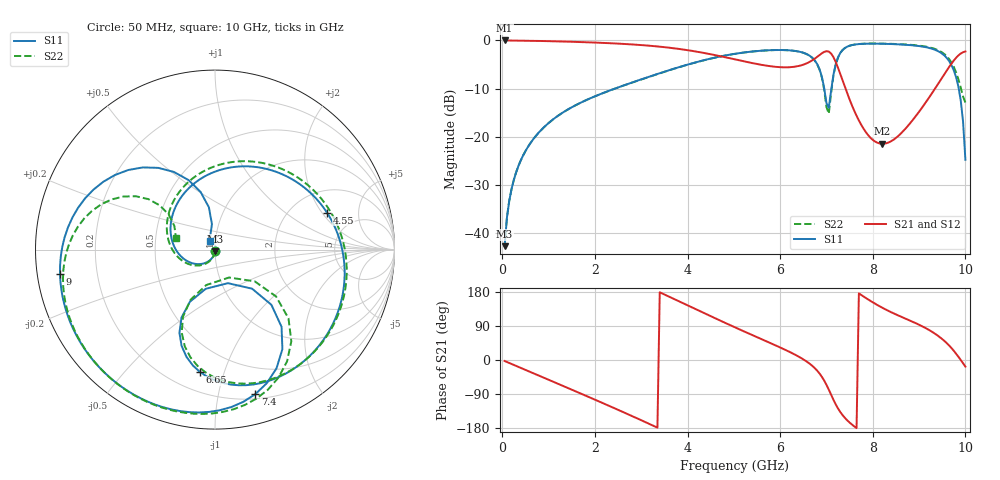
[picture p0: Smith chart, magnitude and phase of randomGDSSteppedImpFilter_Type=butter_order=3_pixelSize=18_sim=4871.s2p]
! freq	dB(S11)	phase(S11)	dB(S12)	phase(S12)
!  dB(S21)	phase(S21)	dB(S22)	phase(S22)
!S-par simulation data
#  GHz  S  DB  R 50
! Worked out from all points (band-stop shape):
!   200 points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, 50 MHz to 10 GHz, reference 50 ohm
!   highest |S21| = -0.01 dB at 50 MHz (marker M1); lowest = -21.4 dB at 8.2 GHz (marker M2)
!   |S21| within 3 dB of the highest: start of sweep to 4.576 GHz; 6.854 GHz to 7.12 GHz (266.3 MHz wide, 3.81 % of centre) (the widest 2 of 3)
!   lowest |S11| = -42.7 dB at 50 MHz (marker M3), VSWR 1.01, Z = 50 - j0.736 ohm
!   |S11| at or under -10 dB: start of sweep to 2.427 GHz; 6.953 GHz to 7.107 GHz (154.2 MHz wide, 2.19 % of centre); 9.857 GHz to end of sweep
!   |S22| runs from -42.7 to -0.6 dB; largest |S21 - S12| = 0
!   S11 on the Smith chart (normalised r, x): 50 MHz: 1.00, -0.01; 4.55 GHz: 3.09, +2.24; 6.65 GHz: 0.32, -0.83; 7.4 GHz: 0.24, -1.29; 9 GHz: 0.07, -0.08; 10 GHz: 0.94, +0.09
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0.05  -42.66 -91.2  -0.01 -2.7  -0.01 -2.7  -42.66 -90.9
0.2  -30.80 -100.8  -0.02 -10.5  -0.02 -10.5  -30.79 -99.7
0.5  -22.95 -117.9  -0.06 -26.1  -0.06 -26.1  -22.94 -115.2
1.75  -12.64 173.2  -0.35 -91.4  -0.35 -91.4  -12.65 -178.1
2.65  -9.23 123.7  -0.74 -139.6  -0.74 -139.6  -9.25 134.8
3.4  -6.80 82.1  -1.29 178.7  -1.29 178.7  -6.82 93.0
4.55  -3.65 18.3  -2.96 112.8  -2.96 112.8  -3.66 25.9
5.05  -2.73 -8.6  -3.98 84.8  -3.98 84.8  -2.74 -2.6
6.05  -1.99 -60.6  -5.57 30.3  -5.57 30.3  -2.00 -56.9
6.65  -3.26 -96.9  -4.37 -11.0  -4.37 -11.0  -3.28 -94.5
6.7  -3.65 -100.8  -4.08 -16.1  -4.08 -16.1  -3.67 -98.5
6.9  -7.51 -116.2  -2.67 -44.2  -2.67 -44.2  -7.66 -115.5
7.05  -13.96 -68.9  -2.31 -78.2  -2.31 -78.2  -15.19 -63.3
7.2  -4.91 -49.2  -4.47 -117.0  -4.47 -117.0  -5.02 -43.1
7.4  -1.55 -74.4  -9.71 -153.0  -9.71 -153.0  -1.57 -69.4
8.2  -0.69 -127.1  -21.43 138.2  -21.43 138.2  -0.66 -121.2
8.35  -0.73 -134.8  -21.12 128.8  -21.12 128.8  -0.69 -128.4
9  -1.17 -171.0  -14.78 93.0  -14.78 93.0  -1.07 -160.6
9.4  -2.18 158.5  -9.17 64.6  -9.17 64.6  -1.98 174.3
9.75  -6.21 117.9  -4.16 24.3  -4.16 24.3  -5.49 146.0
9.9  -12.45 98.3  -2.71 0.0  -2.71 0.0  -9.81 142.9
10  -24.74 121.2  -2.29 -17.4  -2.29 -17.4  -12.89 163.6
